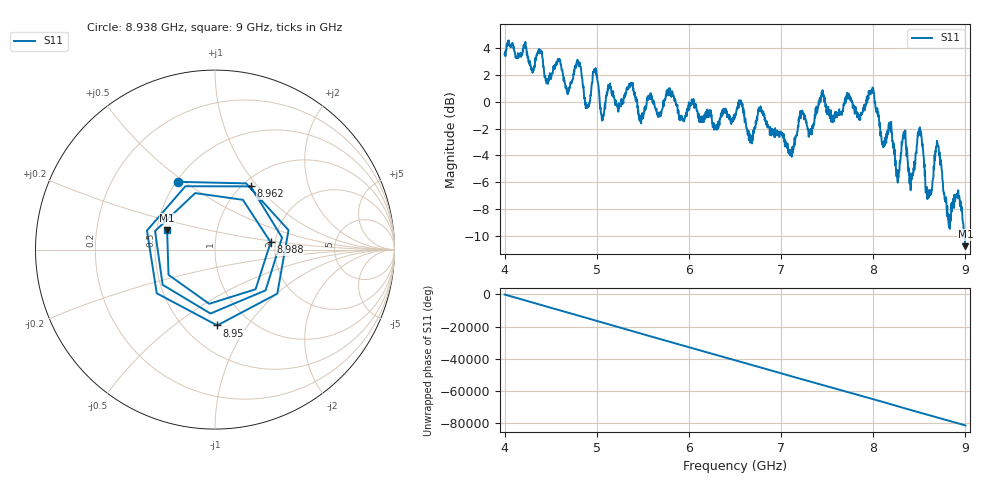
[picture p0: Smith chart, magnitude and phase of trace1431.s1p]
! Created with skrf 1.8.0 (http://scikit-rf.org).
# Hz S RI R 50.0
!freq ReS11 ImS11
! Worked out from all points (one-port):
!   1601 points, 4 GHz to 9 GHz, reference 50 ohm
!   lowest |S11| = -10.8 dB at 9 GHz (marker M1), VSWR 1.81, Z = 28.4 + j6.79 ohm
!   |S11| at or under -10 dB: 8.985304 GHz to end of sweep
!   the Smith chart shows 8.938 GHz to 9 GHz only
!   S11 on the Smith chart (normalised r, x): 8.938 GHz: 0.51, +0.47; 8.95 GHz: 0.71, -0.73; 8.962 GHz: 1.09, +0.92; 8.988 GHz: 1.89, +0.17; 9 GHz: 0.57, +0.14
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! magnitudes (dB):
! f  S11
! 4 GHz  3.6
! 4.625 GHz  2.4
! 4.897 GHz  -0.4
! 5.25 GHz  -0.3
! 5.366 GHz  1.2
! 5.478 GHz  -1.2
! 5.875 GHz  -0.2
! 6.5 GHz  -0.9
! 7.125 GHz  -3.4
! 7.222 GHz  -0.9
! 7.75 GHz  0.1
! 7.859 GHz  -1.3
! 7.988 GHz  0.9
! 8.103 GHz  -3.2
! 8.191 GHz  -2.2
! 8.262 GHz  -5.8
! 8.331 GHz  -2.3
! 8.375 GHz  -4.5
! 8.419 GHz  -5.8
! 8.503 GHz  -1.9
! 8.591 GHz  -6.9
! 8.7 GHz  -3.3
! 8.819 GHz  -9.2
! 8.938 GHz  -7.3
! 8.95 GHz  -7.5
! 8.962 GHz  -7.9
! 8.988 GHz  -10.1
! 9 GHz  -10.8
